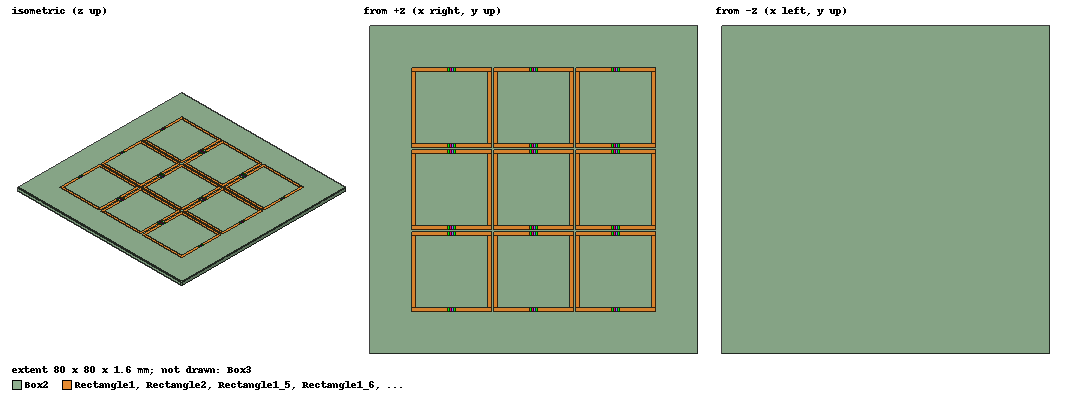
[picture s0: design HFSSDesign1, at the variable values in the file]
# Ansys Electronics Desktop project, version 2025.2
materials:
  vacuum: permittivity=1
  FR4_epoxy: permittivity=4.4 dielectric_loss_tangent=0.02
  air: permittivity=1.0006 permeability=1.0000004

design HFSSDesign1 (HFSS, HFSS Terminal Network, model units mm)
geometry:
  Box2 [FR4_epoxy] = box(corner=(0mm, 0mm, 10mm), size=(80mm, 80mm, 1.6mm))
  Rectangle1 = rectangle(corner=(50.25mm, 68.75mm, 11.6mm), x_size=19.5mm, y_size=1mm)
  Rectangle2 = rectangle(corner=(50.25mm, 50.25mm, 11.6mm), x_size=19.5mm, y_size=1mm)
  Rectangle19 = rectangle(corner=(59mm, 68.75mm, 11.6mm), x_size=2mm, y_size=1mm)
  Rectangle20 = rectangle(corner=(59mm, 50.25mm, 11.6mm), x_size=2mm, y_size=1mm)
  Rectangle2.subtract(Rectangle20)
  Rectangle1.subtract(Rectangle19)
  C1 = rectangle(corner=(59mm, 50.25mm, 11.6mm), x_size=0.5mm, y_size=1mm)
  C2 = rectangle(corner=(60.5mm, 50.25mm, 11.6mm), x_size=0.5mm, y_size=1mm)
  L = rectangle(corner=(59.5mm, 50.25mm, 11.6mm), x_size=0.5mm, y_size=1mm)
  R = rectangle(corner=(60mm, 50.25mm, 11.6mm), x_size=0.5mm, y_size=1mm)
  Rectangle21 = rectangle(corner=(69.75mm, 68.75mm, 11.6mm), x_size=-1mm, y_size=-17.5mm)
  Rectangle22 = rectangle(corner=(51.25mm, 68.75mm, 11.6mm), x_size=-1mm, y_size=-17.5mm)
  C3 = rectangle(corner=(59mm, 68.75mm, 11.6mm), x_size=0.5mm, y_size=1mm)
  C4 = rectangle(corner=(60.5mm, 68.75mm, 11.6mm), x_size=0.5mm, y_size=1mm)
  L1 = rectangle(corner=(59.5mm, 68.75mm, 11.6mm), x_size=0.5mm, y_size=1mm)
  R1 = rectangle(corner=(60mm, 68.75mm, 11.6mm), x_size=0.5mm, y_size=1mm)
  Rectangle1_3, Rectangle1_4 = Rectangle1.duplicate_along_line(step=(-20mm, 0mm, 0mm), total=3)
  Rectangle2_3, Rectangle2_4 = Rectangle2.duplicate_along_line(step=(-20mm, 0mm, 0mm), total=3)
  Rectangle21_3, Rectangle21_4 = Rectangle21.duplicate_along_line(step=(-20mm, 0mm, 0mm), total=3)
  Rectangle22_3, Rectangle22_4 = Rectangle22.duplicate_along_line(step=(-20mm, 0mm, 0mm), total=3)
  C1_3, C1_4 = C1.duplicate_along_line(step=(-20mm, 0mm, 0mm), total=3)
  C2_3, C2_4 = C2.duplicate_along_line(step=(-20mm, 0mm, 0mm), total=3)
  L_3, L_4 = L.duplicate_along_line(step=(-20mm, 0mm, 0mm), total=3)
  R_3, R_4 = R.duplicate_along_line(step=(-20mm, 0mm, 0mm), total=3)
  C3_3, C3_4 = C3.duplicate_along_line(step=(-20mm, 0mm, 0mm), total=3)
  C4_3, C4_4 = C4.duplicate_along_line(step=(-20mm, 0mm, 0mm), total=3)
  L1_3, L1_4 = L1.duplicate_along_line(step=(-20mm, 0mm, 0mm), total=3)
  R1_3, R1_4 = R1.duplicate_along_line(step=(-20mm, 0mm, 0mm), total=3)
  Box3 [air] = box(corner=(-50mm, -50mm, -75mm), size=(200mm, 200mm, 200mm))
  [Box3, Box2, C1, C2, L, R, C1_3, C1_4, C2_3, C2_4, L_3, L_4, R_3, R_4, C3, C4, L1, R1, C3_3, C3_4, C4_3, C4_4, L1_3, L1_4, R1_3, R1_4, Rectangle1, Rectangle2, Rectangle21, Rectangle22, Rectangle1_3, Rectangle1_4, Rectangle2_3, Rectangle2_4, Rectangle21_3, Rectangle21_4, Rectangle22_3, Rectangle22_4].move(-40mm, -40mm, 0mm)
  [Box3, Box2, C1, C2, L, R, C1_3, C1_4, C2_3, C2_4, L_3, L_4, R_3, R_4, C3, C4, L1, R1, C3_3, C3_4, C4_3, C4_4, L1_3, L1_4, R1_3, R1_4, Rectangle1, Rectangle2, Rectangle21, Rectangle22, Rectangle1_3, Rectangle1_4, Rectangle2_3, Rectangle2_4, Rectangle21_3, Rectangle21_4, Rectangle22_3, Rectangle22_4].move(0mm, 0mm, -6.6mm)
  [Box3, Box2, C1, C2, L, R, C1_3, C1_4, C2_3, C2_4, L_3, L_4, R_3, R_4, C3, C4, L1, R1, C3_3, C3_4, C4_3, C4_4, L1_3, L1_4, R1_3, R1_4, Rectangle1, Rectangle2, Rectangle21, Rectangle22, Rectangle1_3, Rectangle1_4, Rectangle2_3, Rectangle2_4, Rectangle21_3, Rectangle21_4, Rectangle22_3, Rectangle22_4].move(-40mm, 0mm, 3.4mm)
  [Box3, Box2, C1, C2, L, R, C1_3, C1_4, C2_3, C2_4, L_3, L_4, R_3, R_4, C3, C4, L1, R1, C3_3, C3_4, C4_3, C4_4, L1_3, L1_4, R1_3, R1_4, Rectangle1, Rectangle2, Rectangle21, Rectangle22, Rectangle1_3, Rectangle1_4, Rectangle2_3, Rectangle2_4, Rectangle21_3, Rectangle21_4, Rectangle22_3, Rectangle22_4].move(90mm, 0mm, -5mm)
  [Box3, Box2, C1, C2, L, R, C1_3, C1_4, C2_3, C2_4, L_3, L_4, R_3, R_4, C3, C4, L1, R1, C3_3, C3_4, C4_3, C4_4, L1_3, L1_4, R1_3, R1_4, Rectangle1, Rectangle2, Rectangle21, Rectangle22, Rectangle1_3, Rectangle1_4, Rectangle2_3, Rectangle2_4, Rectangle21_3, Rectangle21_4, Rectangle22_3, Rectangle22_4].move(1mm, -0.375mm, 2.2mm)
  [Box3, Box2, C1, C2, L, R, C1_3, C1_4, C2_3, C2_4, L_3, L_4, R_3, R_4, C3, C4, L1, R1, C3_3, C3_4, C4_3, C4_4, L1_3, L1_4, R1_3, R1_4, Rectangle1, Rectangle2, Rectangle21, Rectangle22, Rectangle1_3, Rectangle1_4, Rectangle2_3, Rectangle2_4, Rectangle21_3, Rectangle21_4, Rectangle22_3, Rectangle22_4].move(-49.5mm, 0.375mm, 4.4mm)
  [Box3, Box2, C1, C2, L, R, C1_3, C1_4, C2_3, C2_4, L_3, L_4, R_3, R_4, C3, C4, L1, R1, C3_3, C3_4, C4_3, C4_4, L1_3, L1_4, R1_3, R1_4, Rectangle1, Rectangle2, Rectangle21, Rectangle22, Rectangle1_3, Rectangle1_4, Rectangle2_3, Rectangle2_4, Rectangle21_3, Rectangle21_4, Rectangle22_3, Rectangle22_4].move(-1.5mm, 0mm, -10mm)
  [Box3, Box2, C1, C2, L, R, C1_3, C1_4, C2_3, C2_4, L_3, L_4, R_3, R_4, C3, C4, L1, R1, C3_3, C3_4, C4_3, C4_4, L1_3, L1_4, R1_3, R1_4, Rectangle1, Rectangle2, Rectangle21, Rectangle22, Rectangle1_3, Rectangle1_4, Rectangle2_3, Rectangle2_4, Rectangle21_3, Rectangle21_4, Rectangle22_3, Rectangle22_4].move(0mm, 0mm, 5mm)
  [Box3, Box2, C1, C2, L, R, C1_3, C1_4, C2_3, C2_4, L_3, L_4, R_3, R_4, C3, C4, L1, R1, C3_3, C3_4, C4_3, C4_4, L1_3, L1_4, R1_3, R1_4, Rectangle1, Rectangle2, Rectangle21, Rectangle22, Rectangle1_3, Rectangle1_4, Rectangle2_3, Rectangle2_4, Rectangle21_3, Rectangle21_4, Rectangle22_3, Rectangle22_4].rotate(axis=X, angle=90deg)
  [Box3, Box2, C1, C2, L, R, C1_3, C1_4, C2_3, C2_4, L_3, L_4, R_3, R_4, C3, C4, L1, R1, C3_3, C3_4, C4_3, C4_4, L1_3, L1_4, R1_3, R1_4, Rectangle1, Rectangle2, Rectangle21, Rectangle22, Rectangle1_3, Rectangle1_4, Rectangle2_3, Rectangle2_4, Rectangle21_3, Rectangle21_4, Rectangle22_3, Rectangle22_4].rotate(axis=X, angle=180deg)
  [Box3, Box2, C1, C2, L, R, C1_3, C1_4, C2_3, C2_4, L_3, L_4, R_3, R_4, C3, C4, L1, R1, C3_3, C3_4, C4_3, C4_4, L1_3, L1_4, R1_3, R1_4, Rectangle1, Rectangle2, Rectangle21, Rectangle22, Rectangle1_3, Rectangle1_4, Rectangle2_3, Rectangle2_4, Rectangle21_3, Rectangle21_4, Rectangle22_3, Rectangle22_4].rotate(axis=X, angle=-270deg)
  Rectangle1_5, Rectangle1_6 = Rectangle1.duplicate_along_line(step=(0mm, -20mm, 0mm), total=3)
  Rectangle2_5, Rectangle2_6 = Rectangle2.duplicate_along_line(step=(0mm, -20mm, 0mm), total=3)
  C1_5, C1_6 = C1.duplicate_along_line(step=(0mm, -20mm, 0mm), total=3)
  C2_5, C2_6 = C2.duplicate_along_line(step=(0mm, -20mm, 0mm), total=3)
  L_5, L_6 = L.duplicate_along_line(step=(0mm, -20mm, 0mm), total=3)
  R_5, R_6 = R.duplicate_along_line(step=(0mm, -20mm, 0mm), total=3)
  Rectangle21_5, Rectangle21_6 = Rectangle21.duplicate_along_line(step=(0mm, -20mm, 0mm), total=3)
  Rectangle22_5, Rectangle22_6 = Rectangle22.duplicate_along_line(step=(0mm, -20mm, 0mm), total=3)
  C3_5, C3_6 = C3.duplicate_along_line(step=(0mm, -20mm, 0mm), total=3)
  C4_5, C4_6 = C4.duplicate_along_line(step=(0mm, -20mm, 0mm), total=3)
  L1_5, L1_6 = L1.duplicate_along_line(step=(0mm, -20mm, 0mm), total=3)
  R1_5, R1_6 = R1.duplicate_along_line(step=(0mm, -20mm, 0mm), total=3)
  Rectangle1_3_1, Rectangle1_3_2 = Rectangle1_3.duplicate_along_line(step=(0mm, -20mm, 0mm), total=3)
  Rectangle1_4_1, Rectangle1_4_2 = Rectangle1_4.duplicate_along_line(step=(0mm, -20mm, 0mm), total=3)
  Rectangle2_3_1, Rectangle2_3_2 = Rectangle2_3.duplicate_along_line(step=(0mm, -20mm, 0mm), total=3)
  Rectangle2_4_1, Rectangle2_4_2 = Rectangle2_4.duplicate_along_line(step=(0mm, -20mm, 0mm), total=3)
  Rectangle21_3_1, Rectangle21_3_2 = Rectangle21_3.duplicate_along_line(step=(0mm, -20mm, 0mm), total=3)
  Rectangle21_4_1, Rectangle21_4_2 = Rectangle21_4.duplicate_along_line(step=(0mm, -20mm, 0mm), total=3)
  Rectangle22_3_1, Rectangle22_3_2 = Rectangle22_3.duplicate_along_line(step=(0mm, -20mm, 0mm), total=3)
  Rectangle22_4_1, Rectangle22_4_2 = Rectangle22_4.duplicate_along_line(step=(0mm, -20mm, 0mm), total=3)
  C1_3_1, C1_3_2 = C1_3.duplicate_along_line(step=(0mm, -20mm, 0mm), total=3)
  C1_4_1, C1_4_2 = C1_4.duplicate_along_line(step=(0mm, -20mm, 0mm), total=3)
  C2_3_1, C2_3_2 = C2_3.duplicate_along_line(step=(0mm, -20mm, 0mm), total=3)
  C2_4_1, C2_4_2 = C2_4.duplicate_along_line(step=(0mm, -20mm, 0mm), total=3)
  L_3_1, L_3_2 = L_3.duplicate_along_line(step=(0mm, -20mm, 0mm), total=3)
  L_4_1, L_4_2 = L_4.duplicate_along_line(step=(0mm, -20mm, 0mm), total=3)
  R_3_1, R_3_2 = R_3.duplicate_along_line(step=(0mm, -20mm, 0mm), total=3)
  R_4_1, R_4_2 = R_4.duplicate_along_line(step=(0mm, -20mm, 0mm), total=3)
  C3_3_1, C3_3_2 = C3_3.duplicate_along_line(step=(0mm, -20mm, 0mm), total=3)
  C3_4_1, C3_4_2 = C3_4.duplicate_along_line(step=(0mm, -20mm, 0mm), total=3)
  C4_3_1, C4_3_2 = C4_3.duplicate_along_line(step=(0mm, -20mm, 0mm), total=3)
  C4_4_1, C4_4_2 = C4_4.duplicate_along_line(step=(0mm, -20mm, 0mm), total=3)
  L1_3_1, L1_3_2 = L1_3.duplicate_along_line(step=(0mm, -20mm, 0mm), total=3)
  L1_4_1, L1_4_2 = L1_4.duplicate_along_line(step=(0mm, -20mm, 0mm), total=3)
  R1_3_1, R1_3_2 = R1_3.duplicate_along_line(step=(0mm, -20mm, 0mm), total=3)
  R1_4_1, R1_4_2 = R1_4.duplicate_along_line(step=(0mm, -20mm, 0mm), total=3)
  group metasurface = Box2
  group RIS = Box3
  group METASURFACE1 = Rectangle1, Rectangle2, C1, C2, L, R, Rectangle21, Rectangle22, C3, C4, L1, R1, Rectangle1_3, Rectangle1_4, Rectangle2_3, Rectangle2_4, Rectangle21_3, Rectangle21_4, Rectangle22_3, Rectangle22_4, C1_3, C1_4, C2_3, C2_4, L_3, L_4, R_3, R_4, C3_3, C3_4, C4_3, C4_4, L1_3, L1_4, R1_3, R1_4, Rectangle1_5, Rectangle1_6, Rectangle2_5, Rectangle2_6, C1_5, C1_6, C2_5, C2_6, L_5, L_6, R_5, R_6, Rectangle21_5, Rectangle21_6, Rectangle22_5, Rectangle22_6, C3_5, C3_6, C4_5, C4_6, L1_5, L1_6, R1_5, R1_6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
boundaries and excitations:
  Rad1: Radiation Objects=Box3
  meta_R: Lumped RLC Objects=[R, R1, R_3, R1_3, R1_4, R_4] CurrentLine{(0, -29.25, 5.8) -> (-0.5, -29.25, 5.8)} RLC_Type=Serial Resistance=2ohm
  meta_C1: Lumped RLC Objects=[C1, C3, C1_3, C3_3, C3_4, C1_4] CurrentLine{(-21, -29.25, 5.8) -> (-21.5, -29.25, 5.8)} RLC_Type=Serial Capacitance=0.5uF
  meta_C2: Lumped RLC Objects=[C2, C4, C2_3, C4_3, C2_4, C4_4] CurrentLine{(-19.25, 9.25, 5.4) -> (-19.75, 9.25, 5.4)} RLC_Type=Serial Capacitance=0.5pF
  meta_L: Lumped RLC Objects=[L1, L, L_3, L1_3, L1_4, L_4] CurrentLine{(-20.5, -29.25, 5.8) -> (-21, -29.25, 5.8)} RLC_Type=Serial Inductance=0.4nH
  meta_perfE: Perfect E Objects=[Rectangle2_4, Rectangle21_4, Rectangle22_3, Rectangle2_3, Rectangle21_3, Rectangle22, Rectangle2, Rectangle21, Rectangle1, Rectangle1_3, Rectangle1_4, Rectangle22_4]
  meta_R1: Lumped RLC Objects=[R_5, R1_5, R_3_1, R1_3_1, R1_4_1, R_4_1] CurrentLine{(0, 0, 0) -> (0, 0, 0)} RLC_Type=Serial Resistance=2ohm
  meta_C3: Lumped RLC Objects=[C1_5, C3_5, C1_3_1, C3_3_1, C3_4_1, C1_4_1] CurrentLine{(0, 0, 0) -> (0, 0, 0)} RLC_Type=Serial Capacitance=0.5uF
  meta_C4: Lumped RLC Objects=[C2_5, C4_5, C2_3_1, C4_3_1, C2_4_1, C4_4_1] CurrentLine{(0, 0, 0) -> (0, 0, 0)} RLC_Type=Serial Capacitance=0.5pF
  meta_L1: Lumped RLC Objects=[L1_5, L_5, L_3_1, L1_3_1, L1_4_1, L_4_1] CurrentLine{(0, 0, 0) -> (0, 0, 0)} RLC_Type=Serial Inductance=0.4nH
  meta_perfE1: Perfect E Objects=[Rectangle2_4_1, Rectangle21_4_1, Rectangle22_3_1, Rectangle2_3_1, Rectangle21_3_1, Rectangle22_5, Rectangle2_5, Rectangle21_5, Rectangle1_5, Rectangle1_3_1, Rectangle1_4_1, Rectangle22_4_1]
  meta_R2: Lumped RLC Objects=[R_6, R1_6, R_3_2, R1_3_2, R1_4_2, R_4_2] CurrentLine{(0, 0, 0) -> (0, 0, 0)} RLC_Type=Serial Resistance=2ohm
  meta_C5: Lumped RLC Objects=[C1_6, C3_6, C1_3_2, C3_3_2, C3_4_2, C1_4_2] CurrentLine{(0, 0, 0) -> (0, 0, 0)} RLC_Type=Serial Capacitance=0.5uF
  meta_C6: Lumped RLC Objects=[C2_6, C4_6, C2_3_2, C4_3_2, C2_4_2, C4_4_2] CurrentLine{(0, 0, 0) -> (0, 0, 0)} RLC_Type=Serial Capacitance=0.5pF
  meta_L2: Lumped RLC Objects=[L1_6, L_6, L_3_2, L1_3_2, L1_4_2, L_4_2] CurrentLine{(0, 0, 0) -> (0, 0, 0)} RLC_Type=Serial Inductance=0.4nH
  meta_perfE2: Perfect E Objects=[Rectangle2_4_2, Rectangle21_4_2, Rectangle22_3_2, Rectangle2_3_2, Rectangle21_3_2, Rectangle22_6, Rectangle2_6, Rectangle21_6, Rectangle1_6, Rectangle1_3_2, Rectangle1_4_2, Rectangle22_4_2]
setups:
  Setup1: HfssDriven Frequency=2.4GHz MaxDeltaE=0.1 MaximumPasses=40 MinimumPasses=1 MinimumConvergedPasses=1 PercentRefinement=30 BasisOrder=1 DrivenSolverType="Direct Solver"
    sweep Sweep: 1.2GHz to 5GHz, 401 points; Type=Fast SaveFields
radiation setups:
  Infinite Sphere1: Infinite Sphere Theta=0deg..360deg step 2deg Phi=-180deg..180deg step 2deg
